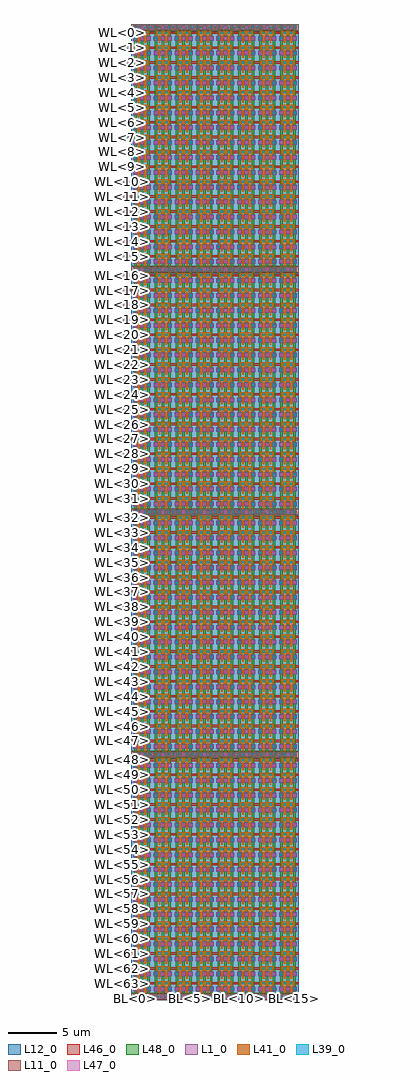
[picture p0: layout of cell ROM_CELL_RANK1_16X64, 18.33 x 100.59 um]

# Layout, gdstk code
from math import pi, radians
import gdstk
lib = gdstk.Library(unit=1e-6, precision=1e-09)
def R(c, l, rs):  # rectangles x0, y0, x1, y1
    for r in rs: c.add(gdstk.rectangle(r[:2], r[2:], *l))
L1_0 = (1, 0)
L11_0 = (11, 0)
L12_0 = (12, 0)
L39_0 = (39, 0)
L41_0 = (41, 0)
L46_0 = (46, 0)
L47_0 = (47, 0)
L48_0 = (48, 0)

via1 = lib.new_cell('VIA1')
R(via1, L47_0, [(0,0,0.25,0.25)])

cont = lib.new_cell('CONT')
R(cont, L39_0, [(0,0,0.23,0.23)])

rom_cell_rank1 = lib.new_cell('ROM_CELL_RANK1')
R(rom_cell_rank1, L1_0, [(-0.235,0.37,0.925,0.84)])
R(rom_cell_rank1, L41_0, [(0.255,0.125,0.435,1.04), (0,0.94,0.69,1.41)])
R(rom_cell_rank1, L46_0, [(-0.225,0.37,0.225,0.82), (0.465,0.37,0.915,0.82), (-0.005,1.06,0.69,1.29)])
R(rom_cell_rank1, L48_0, [(-0.125,0.37,0.125,0.84), (0.565,0.37,0.815,0.84)])
r = gdstk.Reference(via1, (0.565,0.73), rotation=3*pi/2); r.repetition = gdstk.Repetition(1, 1, v1=(0,-0.52), v2=(0.25,0)); rom_cell_rank1.add(r)
rom_cell_rank1.add(gdstk.Reference(cont, (0.23,1.06)))
r = gdstk.Reference(cont, (0.805,0.49), rotation=pi/2); r.repetition = gdstk.Repetition(1, 1, v1=(0,0.48), v2=(-0.23,0)); rom_cell_rank1.add(r)
r = gdstk.Reference(cont, (0.115,0.49), rotation=pi/2); r.repetition = gdstk.Repetition(1, 1, v1=(0,0.48), v2=(-0.23,0)); rom_cell_rank1.add(r)

rom_cell_rank1_16x2 = lib.new_cell('ROM_CELL_RANK1_16X2')
rom_cell_rank1_16x2.add(gdstk.Reference(rom_cell_rank1, (3.765,-0.125), rotation=pi, x_reflection=True))
rom_cell_rank1_16x2.add(gdstk.Reference(rom_cell_rank1, (3.075,-0.125), rotation=pi, x_reflection=True))
rom_cell_rank1_16x2.add(gdstk.Reference(rom_cell_rank1, (0.925,-0.125), rotation=pi, x_reflection=True))
rom_cell_rank1_16x2.add(gdstk.Reference(rom_cell_rank1, (1.615,-0.125), rotation=pi, x_reflection=True))
rom_cell_rank1_16x2.add(gdstk.Reference(rom_cell_rank1, (5.915,-0.125), rotation=pi, x_reflection=True))
rom_cell_rank1_16x2.add(gdstk.Reference(rom_cell_rank1, (5.225,-0.125), rotation=pi, x_reflection=True))
rom_cell_rank1_16x2.add(gdstk.Reference(rom_cell_rank1, (7.375,-0.125), rotation=pi, x_reflection=True))
rom_cell_rank1_16x2.add(gdstk.Reference(rom_cell_rank1, (8.065,-0.125), rotation=pi, x_reflection=True))
rom_cell_rank1_16x2.add(gdstk.Reference(rom_cell_rank1, (6.685,1.41)))
rom_cell_rank1_16x2.add(gdstk.Reference(rom_cell_rank1, (7.375,1.41)))
rom_cell_rank1_16x2.add(gdstk.Reference(rom_cell_rank1, (5.225,1.41)))
rom_cell_rank1_16x2.add(gdstk.Reference(rom_cell_rank1, (4.535,1.41)))
rom_cell_rank1_16x2.add(gdstk.Reference(rom_cell_rank1, (3.075,1.41)))
rom_cell_rank1_16x2.add(gdstk.Reference(rom_cell_rank1, (2.385,1.41)))
rom_cell_rank1_16x2.add(gdstk.Reference(rom_cell_rank1, (0.925,1.41)))
rom_cell_rank1_16x2.add(gdstk.Reference(rom_cell_rank1, (0.235,1.41)))
rom_cell_rank1_16x2.add(gdstk.Reference(rom_cell_rank1, (10.215,-0.125), rotation=pi, x_reflection=True))
rom_cell_rank1_16x2.add(gdstk.Reference(rom_cell_rank1, (9.525,-0.125), rotation=pi, x_reflection=True))
rom_cell_rank1_16x2.add(gdstk.Reference(rom_cell_rank1, (9.525,1.41)))
rom_cell_rank1_16x2.add(gdstk.Reference(rom_cell_rank1, (8.835,1.41)))
rom_cell_rank1_16x2.add(gdstk.Reference(rom_cell_rank1, (10.985,1.41)))
rom_cell_rank1_16x2.add(gdstk.Reference(rom_cell_rank1, (11.675,1.41)))
rom_cell_rank1_16x2.add(gdstk.Reference(rom_cell_rank1, (11.675,-0.125), rotation=pi, x_reflection=True))
rom_cell_rank1_16x2.add(gdstk.Reference(rom_cell_rank1, (12.365,-0.125), rotation=pi, x_reflection=True))
rom_cell_rank1_16x2.add(gdstk.Reference(rom_cell_rank1, (14.515,-0.125), rotation=pi, x_reflection=True))
rom_cell_rank1_16x2.add(gdstk.Reference(rom_cell_rank1, (13.825,-0.125), rotation=pi, x_reflection=True))
rom_cell_rank1_16x2.add(gdstk.Reference(rom_cell_rank1, (13.825,1.41)))
rom_cell_rank1_16x2.add(gdstk.Reference(rom_cell_rank1, (13.135,1.41)))
rom_cell_rank1_16x2.add(gdstk.Reference(rom_cell_rank1, (15.285,1.41)))
rom_cell_rank1_16x2.add(gdstk.Reference(rom_cell_rank1, (15.975,1.41)))
rom_cell_rank1_16x2.add(gdstk.Reference(rom_cell_rank1, (15.975,-0.125), rotation=pi, x_reflection=True))
rom_cell_rank1_16x2.add(gdstk.Reference(rom_cell_rank1, (16.665,-0.125), rotation=pi, x_reflection=True))

rom_cell_rank1_8x2 = lib.new_cell('ROM_CELL_RANK1_8X2')
rom_cell_rank1_8x2.add(gdstk.Reference(rom_cell_rank1_16x2, (-0.235,0.125)))

rom_cell_rank1_16x16 = lib.new_cell('ROM_CELL_RANK1_16X16')
R(rom_cell_rank1_16x16, L1_0, [(1.23,0.1,18.13,0.57), (1.23,25.08,18.13,25.55)])
R(rom_cell_rank1_16x16, L11_0, [(1.03,0,18.33,0.67), (1.03,24.98,18.33,25.65)])
R(rom_cell_rank1_16x16, L12_0, [(1.03,0.67,18.33,24.98)])
R(rom_cell_rank1_16x16, L46_0, [(1.345,0.21,18.055,0.46), (1.345,25.19,18.055,25.44)])
rom_cell_rank1_16x16.add(gdstk.FlexPath([(0,1.72),(1.07,1.72)], 0.25, ends="flush", simple_path=True, layer=48, datatype=0))  # L48_0
rom_cell_rank1_16x16.add(gdstk.FlexPath([(0,3.255),(1.07,3.255)], 0.25, ends="flush", simple_path=True, layer=48, datatype=0))  # L48_0
rom_cell_rank1_16x16.add(gdstk.FlexPath([(0,4.79),(1.07,4.79)], 0.25, ends="flush", simple_path=True, layer=48, datatype=0))  # L48_0
rom_cell_rank1_16x16.add(gdstk.FlexPath([(0,6.325),(1.07,6.325)], 0.25, ends="flush", simple_path=True, layer=48, datatype=0))  # L48_0
rom_cell_rank1_16x16.add(gdstk.FlexPath([(0,7.86),(1.07,7.86)], 0.25, ends="flush", simple_path=True, layer=48, datatype=0))  # L48_0
rom_cell_rank1_16x16.add(gdstk.FlexPath([(0,9.395),(1.07,9.395)], 0.25, ends="flush", simple_path=True, layer=48, datatype=0))  # L48_0
rom_cell_rank1_16x16.add(gdstk.FlexPath([(0,10.93),(1.07,10.93)], 0.25, ends="flush", simple_path=True, layer=48, datatype=0))  # L48_0
rom_cell_rank1_16x16.add(gdstk.FlexPath([(0,12.465),(1.07,12.465)], 0.25, ends="flush", simple_path=True, layer=48, datatype=0))  # L48_0
rom_cell_rank1_16x16.add(gdstk.FlexPath([(0,14),(1.07,14)], 0.25, ends="flush", simple_path=True, layer=48, datatype=0))  # L48_0
rom_cell_rank1_16x16.add(gdstk.FlexPath([(0,15.535),(1.07,15.535)], 0.25, ends="flush", simple_path=True, layer=48, datatype=0))  # L48_0
rom_cell_rank1_16x16.add(gdstk.FlexPath([(0,17.07),(1.07,17.07)], 0.25, ends="flush", simple_path=True, layer=48, datatype=0))  # L48_0
rom_cell_rank1_16x16.add(gdstk.FlexPath([(0,18.605),(1.07,18.605)], 0.25, ends="flush", simple_path=True, layer=48, datatype=0))  # L48_0
rom_cell_rank1_16x16.add(gdstk.FlexPath([(0,20.14),(1.07,20.14)], 0.25, ends="flush", simple_path=True, layer=48, datatype=0))  # L48_0
rom_cell_rank1_16x16.add(gdstk.FlexPath([(0,21.675),(1.07,21.675)], 0.25, ends="flush", simple_path=True, layer=48, datatype=0))  # L48_0
rom_cell_rank1_16x16.add(gdstk.FlexPath([(0,23.21),(1.07,23.21)], 0.25, ends="flush", simple_path=True, layer=48, datatype=0))  # L48_0
rom_cell_rank1_16x16.add(gdstk.FlexPath([(0,24.745),(1.07,24.745)], 0.25, ends="flush", simple_path=True, layer=48, datatype=0))  # L48_0
rom_cell_rank1_16x16.add(gdstk.FlexPath([(7.915,0.11),(7.915,25.54)], 0.25, ends="flush", simple_path=True, layer=48, datatype=0))  # L48_0
rom_cell_rank1_16x16.add(gdstk.FlexPath([(8.605,0.11),(8.605,25.54)], 0.25, ends="flush", simple_path=True, layer=48, datatype=0))  # L48_0
rom_cell_rank1_16x16.add(gdstk.FlexPath([(9.295,0.11),(9.295,25.54)], 0.25, ends="flush", simple_path=True, layer=48, datatype=0))  # L48_0
rom_cell_rank1_16x16.add(gdstk.FlexPath([(7.145,0.11),(7.145,25.54)], 0.25, ends="flush", simple_path=True, layer=48, datatype=0))  # L48_0
rom_cell_rank1_16x16.add(gdstk.FlexPath([(6.455,0.11),(6.455,25.54)], 0.25, ends="flush", simple_path=True, layer=48, datatype=0))  # L48_0
rom_cell_rank1_16x16.add(gdstk.FlexPath([(5.765,0.11),(5.765,25.54)], 0.25, ends="flush", simple_path=True, layer=48, datatype=0))  # L48_0
rom_cell_rank1_16x16.add(gdstk.FlexPath([(4.995,0.11),(4.995,25.54)], 0.25, ends="flush", simple_path=True, layer=48, datatype=0))  # L48_0
rom_cell_rank1_16x16.add(gdstk.FlexPath([(4.305,0.11),(4.305,25.54)], 0.25, ends="flush", simple_path=True, layer=48, datatype=0))  # L48_0
rom_cell_rank1_16x16.add(gdstk.FlexPath([(3.615,0.11),(3.615,25.54)], 0.25, ends="flush", simple_path=True, layer=48, datatype=0))  # L48_0
rom_cell_rank1_16x16.add(gdstk.FlexPath([(2.845,0.11),(2.845,25.54)], 0.25, ends="flush", simple_path=True, layer=48, datatype=0))  # L48_0
rom_cell_rank1_16x16.add(gdstk.FlexPath([(2.155,0.11),(2.155,25.54)], 0.25, ends="flush", simple_path=True, layer=48, datatype=0))  # L48_0
rom_cell_rank1_16x16.add(gdstk.FlexPath([(1.465,0.11),(1.465,25.54)], 0.25, ends="flush", simple_path=True, layer=48, datatype=0))  # L48_0
rom_cell_rank1_16x16.add(gdstk.FlexPath([(17.895,0.11),(17.895,25.54)], 0.25, ends="flush", simple_path=True, layer=48, datatype=0))  # L48_0
rom_cell_rank1_16x16.add(gdstk.FlexPath([(17.205,0.11),(17.205,25.54)], 0.25, ends="flush", simple_path=True, layer=48, datatype=0))  # L48_0
rom_cell_rank1_16x16.add(gdstk.FlexPath([(16.515,0.11),(16.515,25.54)], 0.25, ends="flush", simple_path=True, layer=48, datatype=0))  # L48_0
rom_cell_rank1_16x16.add(gdstk.FlexPath([(15.745,0.11),(15.745,25.54)], 0.25, ends="flush", simple_path=True, layer=48, datatype=0))  # L48_0
rom_cell_rank1_16x16.add(gdstk.FlexPath([(15.055,0.11),(15.055,25.54)], 0.25, ends="flush", simple_path=True, layer=48, datatype=0))  # L48_0
rom_cell_rank1_16x16.add(gdstk.FlexPath([(14.365,0.11),(14.365,25.54)], 0.25, ends="flush", simple_path=True, layer=48, datatype=0))  # L48_0
rom_cell_rank1_16x16.add(gdstk.FlexPath([(13.595,0.11),(13.595,25.54)], 0.25, ends="flush", simple_path=True, layer=48, datatype=0))  # L48_0
rom_cell_rank1_16x16.add(gdstk.FlexPath([(12.905,0.11),(12.905,25.54)], 0.25, ends="flush", simple_path=True, layer=48, datatype=0))  # L48_0
rom_cell_rank1_16x16.add(gdstk.FlexPath([(12.215,0.11),(12.215,25.54)], 0.25, ends="flush", simple_path=True, layer=48, datatype=0))  # L48_0
rom_cell_rank1_16x16.add(gdstk.FlexPath([(11.445,0.11),(11.445,25.54)], 0.25, ends="flush", simple_path=True, layer=48, datatype=0))  # L48_0
rom_cell_rank1_16x16.add(gdstk.FlexPath([(10.755,0.11),(10.755,25.54)], 0.25, ends="flush", simple_path=True, layer=48, datatype=0))  # L48_0
rom_cell_rank1_16x16.add(gdstk.FlexPath([(10.065,0.11),(10.065,25.54)], 0.25, ends="flush", simple_path=True, layer=48, datatype=0))  # L48_0
rom_cell_rank1_16x16.add(gdstk.FlexPath([(0.1,1.72),(1.07,1.72)], 0.25, ends="flush", simple_path=True, layer=46, datatype=0))  # L46_0
rom_cell_rank1_16x16.add(gdstk.FlexPath([(0.1,3.255),(1.07,3.255)], 0.25, ends="flush", simple_path=True, layer=46, datatype=0))  # L46_0
rom_cell_rank1_16x16.add(gdstk.FlexPath([(0.1,4.79),(1.07,4.79)], 0.25, ends="flush", simple_path=True, layer=46, datatype=0))  # L46_0
rom_cell_rank1_16x16.add(gdstk.FlexPath([(0.1,6.325),(1.07,6.325)], 0.25, ends="flush", simple_path=True, layer=46, datatype=0))  # L46_0
rom_cell_rank1_16x16.add(gdstk.FlexPath([(0.1,7.86),(1.07,7.86)], 0.25, ends="flush", simple_path=True, layer=46, datatype=0))  # L46_0
rom_cell_rank1_16x16.add(gdstk.FlexPath([(0.1,9.395),(1.07,9.395)], 0.25, ends="flush", simple_path=True, layer=46, datatype=0))  # L46_0
rom_cell_rank1_16x16.add(gdstk.FlexPath([(0.1,10.93),(1.07,10.93)], 0.25, ends="flush", simple_path=True, layer=46, datatype=0))  # L46_0
rom_cell_rank1_16x16.add(gdstk.FlexPath([(0.1,12.465),(1.07,12.465)], 0.25, ends="flush", simple_path=True, layer=46, datatype=0))  # L46_0
rom_cell_rank1_16x16.add(gdstk.FlexPath([(0.1,14),(1.07,14)], 0.25, ends="flush", simple_path=True, layer=46, datatype=0))  # L46_0
rom_cell_rank1_16x16.add(gdstk.FlexPath([(0.1,15.535),(1.07,15.535)], 0.25, ends="flush", simple_path=True, layer=46, datatype=0))  # L46_0
rom_cell_rank1_16x16.add(gdstk.FlexPath([(0.1,17.07),(1.07,17.07)], 0.25, ends="flush", simple_path=True, layer=46, datatype=0))  # L46_0
rom_cell_rank1_16x16.add(gdstk.FlexPath([(0.1,18.605),(1.07,18.605)], 0.25, ends="flush", simple_path=True, layer=46, datatype=0))  # L46_0
rom_cell_rank1_16x16.add(gdstk.FlexPath([(0.1,20.14),(1.07,20.14)], 0.25, ends="flush", simple_path=True, layer=46, datatype=0))  # L46_0
rom_cell_rank1_16x16.add(gdstk.FlexPath([(0.1,21.675),(1.07,21.675)], 0.25, ends="flush", simple_path=True, layer=46, datatype=0))  # L46_0
rom_cell_rank1_16x16.add(gdstk.FlexPath([(0.1,23.21),(1.07,23.21)], 0.25, ends="flush", simple_path=True, layer=46, datatype=0))  # L46_0
rom_cell_rank1_16x16.add(gdstk.FlexPath([(0.1,24.745),(1.07,24.745)], 0.25, ends="flush", simple_path=True, layer=46, datatype=0))  # L46_0
rom_cell_rank1_16x16.add(gdstk.FlexPath([(0.1,14),(18.33,14)], 0.23, ends="flush", simple_path=True, layer=46, datatype=0))  # L46_0
rom_cell_rank1_16x16.add(gdstk.FlexPath([(0.1,1.72),(18.33,1.72)], 0.23, ends="flush", simple_path=True, layer=46, datatype=0))  # L46_0
rom_cell_rank1_16x16.add(gdstk.FlexPath([(0.1,3.255),(18.33,3.255)], 0.23, ends="flush", simple_path=True, layer=46, datatype=0))  # L46_0
rom_cell_rank1_16x16.add(gdstk.FlexPath([(0.1,4.79),(18.33,4.79)], 0.23, ends="flush", simple_path=True, layer=46, datatype=0))  # L46_0
rom_cell_rank1_16x16.add(gdstk.FlexPath([(0.1,6.325),(18.33,6.325)], 0.23, ends="flush", simple_path=True, layer=46, datatype=0))  # L46_0
rom_cell_rank1_16x16.add(gdstk.FlexPath([(0.1,7.86),(18.33,7.86)], 0.23, ends="flush", simple_path=True, layer=46, datatype=0))  # L46_0
rom_cell_rank1_16x16.add(gdstk.FlexPath([(0.1,9.395),(18.33,9.395)], 0.23, ends="flush", simple_path=True, layer=46, datatype=0))  # L46_0
rom_cell_rank1_16x16.add(gdstk.FlexPath([(0.1,10.93),(18.33,10.93)], 0.23, ends="flush", simple_path=True, layer=46, datatype=0))  # L46_0
rom_cell_rank1_16x16.add(gdstk.FlexPath([(0.1,12.465),(18.33,12.465)], 0.23, ends="flush", simple_path=True, layer=46, datatype=0))  # L46_0
rom_cell_rank1_16x16.add(gdstk.FlexPath([(0.1,24.745),(18.33,24.745)], 0.23, ends="flush", simple_path=True, layer=46, datatype=0))  # L46_0
rom_cell_rank1_16x16.add(gdstk.FlexPath([(0.1,23.21),(18.33,23.21)], 0.23, ends="flush", simple_path=True, layer=46, datatype=0))  # L46_0
rom_cell_rank1_16x16.add(gdstk.FlexPath([(0.1,21.675),(18.33,21.675)], 0.23, ends="flush", simple_path=True, layer=46, datatype=0))  # L46_0
rom_cell_rank1_16x16.add(gdstk.FlexPath([(0.1,20.14),(18.33,20.14)], 0.23, ends="flush", simple_path=True, layer=46, datatype=0))  # L46_0
rom_cell_rank1_16x16.add(gdstk.FlexPath([(0.1,18.605),(18.33,18.605)], 0.23, ends="flush", simple_path=True, layer=46, datatype=0))  # L46_0
rom_cell_rank1_16x16.add(gdstk.FlexPath([(0.1,17.07),(18.33,17.07)], 0.23, ends="flush", simple_path=True, layer=46, datatype=0))  # L46_0
rom_cell_rank1_16x16.add(gdstk.FlexPath([(0.1,15.535),(18.33,15.535)], 0.23, ends="flush", simple_path=True, layer=46, datatype=0))  # L46_0
rom_cell_rank1_16x16.add(gdstk.Reference(rom_cell_rank1_8x2, (1.465,22.035)))
rom_cell_rank1_16x16.add(gdstk.Reference(rom_cell_rank1_8x2, (1.465,18.965)))
rom_cell_rank1_16x16.add(gdstk.Reference(rom_cell_rank1_8x2, (1.465,15.895)))
rom_cell_rank1_16x16.add(gdstk.Reference(rom_cell_rank1_8x2, (1.465,12.825)))
rom_cell_rank1_16x16.add(gdstk.Reference(rom_cell_rank1_8x2, (1.465,9.755)))
rom_cell_rank1_16x16.add(gdstk.Reference(rom_cell_rank1_8x2, (1.465,6.685)))
rom_cell_rank1_16x16.add(gdstk.Reference(rom_cell_rank1_8x2, (1.465,3.615)))
rom_cell_rank1_16x16.add(gdstk.Reference(rom_cell_rank1_8x2, (1.465,0.545)))
rom_cell_rank1_16x16.add(gdstk.Reference(via1, (10.63,25.19)))
rom_cell_rank1_16x16.add(gdstk.Reference(via1, (12.78,25.19)))
rom_cell_rank1_16x16.add(gdstk.Reference(via1, (14.93,25.19)))
rom_cell_rank1_16x16.add(gdstk.Reference(via1, (17.08,25.19)))
rom_cell_rank1_16x16.add(gdstk.Reference(via1, (10.63,0.21)))
rom_cell_rank1_16x16.add(gdstk.Reference(via1, (12.78,0.21)))
rom_cell_rank1_16x16.add(gdstk.Reference(via1, (14.93,0.21)))
rom_cell_rank1_16x16.add(gdstk.Reference(via1, (17.08,0.21)))
rom_cell_rank1_16x16.add(gdstk.Reference(via1, (4.18,25.19)))
rom_cell_rank1_16x16.add(gdstk.Reference(via1, (6.33,25.19)))
rom_cell_rank1_16x16.add(gdstk.Reference(via1, (8.48,25.19)))
rom_cell_rank1_16x16.add(gdstk.Reference(via1, (2.03,0.21)))
rom_cell_rank1_16x16.add(gdstk.Reference(via1, (4.18,0.21)))
rom_cell_rank1_16x16.add(gdstk.Reference(via1, (6.33,0.21)))
rom_cell_rank1_16x16.add(gdstk.Reference(via1, (8.48,0.21)))
rom_cell_rank1_16x16.add(gdstk.Reference(via1, (2.03,25.19)))
rom_cell_rank1_16x16.add(gdstk.Reference(via1, (0.72,24.62)))
rom_cell_rank1_16x16.add(gdstk.Reference(via1, (0.2,24.62)))
rom_cell_rank1_16x16.add(gdstk.Reference(via1, (0.72,23.085)))
rom_cell_rank1_16x16.add(gdstk.Reference(via1, (0.2,23.085)))
rom_cell_rank1_16x16.add(gdstk.Reference(via1, (0.2,21.55)))
rom_cell_rank1_16x16.add(gdstk.Reference(via1, (0.72,21.55)))
rom_cell_rank1_16x16.add(gdstk.Reference(via1, (0.72,20.015)))
rom_cell_rank1_16x16.add(gdstk.Reference(via1, (0.2,20.015)))
rom_cell_rank1_16x16.add(gdstk.Reference(via1, (0.72,18.48)))
rom_cell_rank1_16x16.add(gdstk.Reference(via1, (0.2,18.48)))
rom_cell_rank1_16x16.add(gdstk.Reference(via1, (0.72,16.945)))
rom_cell_rank1_16x16.add(gdstk.Reference(via1, (0.2,16.945)))
rom_cell_rank1_16x16.add(gdstk.Reference(via1, (0.2,15.41)))
rom_cell_rank1_16x16.add(gdstk.Reference(via1, (0.72,15.41)))
rom_cell_rank1_16x16.add(gdstk.Reference(via1, (0.72,13.875)))
rom_cell_rank1_16x16.add(gdstk.Reference(via1, (0.2,13.875)))
rom_cell_rank1_16x16.add(gdstk.Reference(via1, (0.72,12.34)))
rom_cell_rank1_16x16.add(gdstk.Reference(via1, (0.2,12.34)))
rom_cell_rank1_16x16.add(gdstk.Reference(via1, (0.72,10.805)))
rom_cell_rank1_16x16.add(gdstk.Reference(via1, (0.2,10.805)))
rom_cell_rank1_16x16.add(gdstk.Reference(via1, (0.2,9.27)))
rom_cell_rank1_16x16.add(gdstk.Reference(via1, (0.72,9.27)))
rom_cell_rank1_16x16.add(gdstk.Reference(via1, (0.72,7.735)))
rom_cell_rank1_16x16.add(gdstk.Reference(via1, (0.2,7.735)))
rom_cell_rank1_16x16.add(gdstk.Reference(via1, (0.72,6.2)))
rom_cell_rank1_16x16.add(gdstk.Reference(via1, (0.2,6.2)))
rom_cell_rank1_16x16.add(gdstk.Reference(via1, (0.72,4.665)))
rom_cell_rank1_16x16.add(gdstk.Reference(via1, (0.2,4.665)))
rom_cell_rank1_16x16.add(gdstk.Reference(via1, (0.2,3.13)))
rom_cell_rank1_16x16.add(gdstk.Reference(via1, (0.72,3.13)))
rom_cell_rank1_16x16.add(gdstk.Reference(via1, (0.72,1.595)))
rom_cell_rank1_16x16.add(gdstk.Reference(via1, (0.2,1.595)))
r = gdstk.Reference(cont, (1.425,25.2)); r.repetition = gdstk.Repetition(35, 1, v1=(0.48,0), v2=(0,0.23)); rom_cell_rank1_16x16.add(r)
r = gdstk.Reference(cont, (1.425,0.22)); r.repetition = gdstk.Repetition(35, 1, v1=(0.48,0), v2=(0,0.23)); rom_cell_rank1_16x16.add(r)

rom_cell_rank1_16x64 = lib.new_cell('ROM_CELL_RANK1_16X64')
r = gdstk.Reference(rom_cell_rank1_16x16, (0,0)); r.repetition = gdstk.Repetition(1, 4, v1=(8.7,0), v2=(0,24.98)); rom_cell_rank1_16x64.add(r)
rom_cell_rank1_16x64.add(gdstk.Label('WL<31>', (0.1,51.68), layer=101, texttype=0))
rom_cell_rank1_16x64.add(gdstk.Label('WL<30>', (0.1,53.215), layer=101, texttype=0))
rom_cell_rank1_16x64.add(gdstk.Label('WL<29>', (0.1,54.75), layer=101, texttype=0))
rom_cell_rank1_16x64.add(gdstk.Label('WL<28>', (0.1,56.285), layer=101, texttype=0))
rom_cell_rank1_16x64.add(gdstk.Label('WL<27>', (0.1,57.82), layer=101, texttype=0))
rom_cell_rank1_16x64.add(gdstk.Label('WL<26>', (0.1,59.355), layer=101, texttype=0))
rom_cell_rank1_16x64.add(gdstk.Label('WL<25>', (0.1,60.89), layer=101, texttype=0))
rom_cell_rank1_16x64.add(gdstk.Label('WL<24>', (0.1,62.425), layer=101, texttype=0))
rom_cell_rank1_16x64.add(gdstk.Label('WL<23>', (0.1,63.96), layer=101, texttype=0))
rom_cell_rank1_16x64.add(gdstk.Label('WL<22>', (0.1,65.495), layer=101, texttype=0))
rom_cell_rank1_16x64.add(gdstk.Label('WL<21>', (0.1,67.03), layer=101, texttype=0))
rom_cell_rank1_16x64.add(gdstk.Label('WL<20>', (0.1,68.565), layer=101, texttype=0))
rom_cell_rank1_16x64.add(gdstk.Label('WL<19>', (0.1,70.1), layer=101, texttype=0))
rom_cell_rank1_16x64.add(gdstk.Label('WL<18>', (0.1,71.635), layer=101, texttype=0))
rom_cell_rank1_16x64.add(gdstk.Label('WL<17>', (0.1,73.17), layer=101, texttype=0))
rom_cell_rank1_16x64.add(gdstk.Label('WL<16>', (0.1,74.705), layer=101, texttype=0))
rom_cell_rank1_16x64.add(gdstk.Label('WL<15>', (0.1,76.66), layer=101, texttype=0))
rom_cell_rank1_16x64.add(gdstk.Label('WL<14>', (0.1,78.195), layer=101, texttype=0))
rom_cell_rank1_16x64.add(gdstk.Label('WL<13>', (0.1,79.73), layer=101, texttype=0))
rom_cell_rank1_16x64.add(gdstk.Label('WL<12>', (0.1,81.265), layer=101, texttype=0))
rom_cell_rank1_16x64.add(gdstk.Label('WL<11>', (0.1,82.8), layer=101, texttype=0))
rom_cell_rank1_16x64.add(gdstk.Label('WL<10>', (0.1,84.335), layer=101, texttype=0))
rom_cell_rank1_16x64.add(gdstk.Label('WL<9>', (0.1,85.87), layer=101, texttype=0))
rom_cell_rank1_16x64.add(gdstk.Label('WL<8>', (0.1,87.405), layer=101, texttype=0))
rom_cell_rank1_16x64.add(gdstk.Label('BL<0>', (1.465,0.11), layer=102, texttype=0))
rom_cell_rank1_16x64.add(gdstk.Label('BL<1>', (2.845,0.11), layer=102, texttype=0))
rom_cell_rank1_16x64.add(gdstk.Label('BL<2>', (3.615,0.11), layer=102, texttype=0))
rom_cell_rank1_16x64.add(gdstk.Label('BL<3>', (4.995,0.11), layer=102, texttype=0))
rom_cell_rank1_16x64.add(gdstk.Label('BL<4>', (5.765,0.11), layer=102, texttype=0))
rom_cell_rank1_16x64.add(gdstk.Label('BL<5>', (7.145,0.11), layer=102, texttype=0))
rom_cell_rank1_16x64.add(gdstk.Label('BL<6>', (7.915,0.11), layer=102, texttype=0))
rom_cell_rank1_16x64.add(gdstk.Label('BL<7>', (9.295,0.11), layer=102, texttype=0))
rom_cell_rank1_16x64.add(gdstk.Label('BL<8>', (10.065,0.11), layer=102, texttype=0))
rom_cell_rank1_16x64.add(gdstk.Label('BL<9>', (11.445,0.11), layer=102, texttype=0))
rom_cell_rank1_16x64.add(gdstk.Label('BL<10>', (12.215,0.11), layer=102, texttype=0))
rom_cell_rank1_16x64.add(gdstk.Label('BL<11>', (13.595,0.11), layer=102, texttype=0))
rom_cell_rank1_16x64.add(gdstk.Label('BL<12>', (14.365,0.11), layer=102, texttype=0))
rom_cell_rank1_16x64.add(gdstk.Label('BL<13>', (15.745,0.11), layer=102, texttype=0))
rom_cell_rank1_16x64.add(gdstk.Label('BL<14>', (16.515,0.11), layer=102, texttype=0))
rom_cell_rank1_16x64.add(gdstk.Label('BL<15>', (17.895,0.11), layer=102, texttype=0))
rom_cell_rank1_16x64.add(gdstk.Label('VSS', (2.155,0.11), layer=102, texttype=0))
rom_cell_rank1_16x64.add(gdstk.Label('WL<7>', (0.1,88.94), layer=101, texttype=0))
rom_cell_rank1_16x64.add(gdstk.Label('WL<6>', (0.1,90.475), layer=101, texttype=0))
rom_cell_rank1_16x64.add(gdstk.Label('WL<5>', (0.1,92.01), layer=101, texttype=0))
rom_cell_rank1_16x64.add(gdstk.Label('WL<4>', (0.1,93.545), layer=101, texttype=0))
rom_cell_rank1_16x64.add(gdstk.Label('WL<3>', (0.1,95.08), layer=101, texttype=0))
rom_cell_rank1_16x64.add(gdstk.Label('WL<2>', (0.1,96.615), layer=101, texttype=0))
rom_cell_rank1_16x64.add(gdstk.Label('WL<1>', (0.1,98.15), layer=101, texttype=0))
rom_cell_rank1_16x64.add(gdstk.Label('WL<0>', (0.1,99.685), layer=101, texttype=0))
rom_cell_rank1_16x64.add(gdstk.Label('WL<32>', (0.1,49.725), layer=101, texttype=0))
rom_cell_rank1_16x64.add(gdstk.Label('WL<33>', (0.1,48.19), layer=101, texttype=0))
rom_cell_rank1_16x64.add(gdstk.Label('WL<34>', (0.1,46.655), layer=101, texttype=0))
rom_cell_rank1_16x64.add(gdstk.Label('WL<35>', (0.1,45.12), layer=101, texttype=0))
rom_cell_rank1_16x64.add(gdstk.Label('WL<36>', (0.1,43.585), layer=101, texttype=0))
rom_cell_rank1_16x64.add(gdstk.Label('WL<37>', (0.1,42.05), layer=101, texttype=0))
rom_cell_rank1_16x64.add(gdstk.Label('WL<38>', (0.1,40.515), layer=101, texttype=0))
rom_cell_rank1_16x64.add(gdstk.Label('WL<39>', (0.1,38.98), layer=101, texttype=0))
rom_cell_rank1_16x64.add(gdstk.Label('WL<40>', (0.1,37.445), layer=101, texttype=0))
rom_cell_rank1_16x64.add(gdstk.Label('WL<41>', (0.1,35.91), layer=101, texttype=0))
rom_cell_rank1_16x64.add(gdstk.Label('WL<42>', (0.1,34.375), layer=101, texttype=0))
rom_cell_rank1_16x64.add(gdstk.Label('WL<43>', (0.1,32.84), layer=101, texttype=0))
rom_cell_rank1_16x64.add(gdstk.Label('WL<44>', (0.1,31.305), layer=101, texttype=0))
rom_cell_rank1_16x64.add(gdstk.Label('WL<45>', (0.1,29.77), layer=101, texttype=0))
rom_cell_rank1_16x64.add(gdstk.Label('WL<46>', (0.1,28.235), layer=101, texttype=0))
rom_cell_rank1_16x64.add(gdstk.Label('WL<47>', (0.1,26.7), layer=101, texttype=0))
rom_cell_rank1_16x64.add(gdstk.Label('WL<48>', (0.1,24.745), layer=101, texttype=0))
rom_cell_rank1_16x64.add(gdstk.Label('WL<49>', (0.1,23.21), layer=101, texttype=0))
rom_cell_rank1_16x64.add(gdstk.Label('WL<50>', (0.1,21.675), layer=101, texttype=0))
rom_cell_rank1_16x64.add(gdstk.Label('WL<51>', (0.1,20.14), layer=101, texttype=0))
rom_cell_rank1_16x64.add(gdstk.Label('WL<52>', (0.1,18.605), layer=101, texttype=0))
rom_cell_rank1_16x64.add(gdstk.Label('WL<53>', (0.1,17.07), layer=101, texttype=0))
rom_cell_rank1_16x64.add(gdstk.Label('WL<54>', (0.1,15.535), layer=101, texttype=0))
rom_cell_rank1_16x64.add(gdstk.Label('WL<55>', (0.1,14), layer=101, texttype=0))
rom_cell_rank1_16x64.add(gdstk.Label('WL<56>', (0.1,12.465), layer=101, texttype=0))
rom_cell_rank1_16x64.add(gdstk.Label('WL<57>', (0.1,10.93), layer=101, texttype=0))
rom_cell_rank1_16x64.add(gdstk.Label('WL<58>', (0.1,9.395), layer=101, texttype=0))
rom_cell_rank1_16x64.add(gdstk.Label('WL<59>', (0.1,7.86), layer=101, texttype=0))
rom_cell_rank1_16x64.add(gdstk.Label('WL<60>', (0.1,6.325), layer=101, texttype=0))
rom_cell_rank1_16x64.add(gdstk.Label('WL<61>', (0.1,4.79), layer=101, texttype=0))
rom_cell_rank1_16x64.add(gdstk.Label('WL<62>', (0.1,3.255), layer=101, texttype=0))
rom_cell_rank1_16x64.add(gdstk.Label('WL<63>', (0.1,1.72), layer=101, texttype=0))

lib.write_gds('ROM_CELL_RANK1_16X64.gds')
